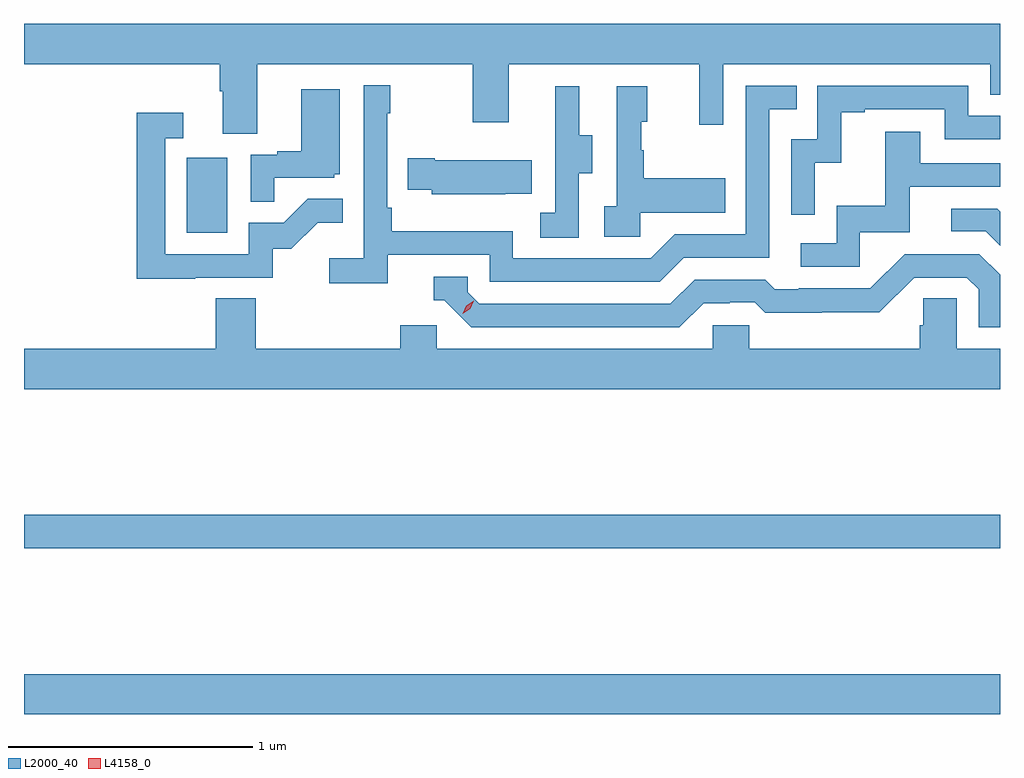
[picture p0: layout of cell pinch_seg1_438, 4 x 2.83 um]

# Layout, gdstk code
import gdstk
lib = gdstk.Library(unit=1e-6, precision=1e-09)
def R(c, l, rs):  # rectangles x0, y0, x1, y1
    for r in rs: c.add(gdstk.rectangle(r[:2], r[2:], *l))
def P(c, l, *ps):  # polygons
    for p in ps: c.add(gdstk.Polygon(p, *l))
L2000_40 = (2000, 40)
L4158_0 = (4158, 0)

pinch_seg1_438 = lib.new_cell('pinch_seg1_438')
R(pinch_seg1_438, L2000_40, [(986.718,518.432,990.718,518.596), (986.718,519.112,990.718,519.248), (987.386,520.404,987.55,520.711)])
P(pinch_seg1_438, L2000_40, [(987.673,521.096),(988.558,521.096),(988.558,520.857),(988.705,520.857),(988.705,521.096),(989.486,521.096),(989.486,520.847),(989.583,520.847),(989.583,521.096),(990.678,521.096),(990.678,520.969),(990.718,520.969),(990.718,521.26),(986.718,521.26),(986.718,521.096),(987.521,521.096),(987.521,520.984),(987.533,520.984),(987.533,520.81),(987.673,520.81)],
  [(988.208,520.314),(988.626,520.314),(988.626,520.203),(989.323,520.203),(989.422,520.302),(989.772,520.302),(989.772,520.911),(989.885,520.911),(989.885,521.007),(989.676,521.007),(989.676,520.398),(989.385,520.398),(989.286,520.299),(988.722,520.299),(988.722,520.411),(988.226,520.411),(988.226,520.507),(988.206,520.507),(988.206,520.895),(988.219,520.895),(988.219,521.008),(988.11,521.008),(988.11,520.3),(987.969,520.3),(987.969,520.198),(988.208,520.198)],
  [(989.958,520.691),(990.068,520.691),(990.068,520.899),(990.163,520.899),(990.163,520.911),(990.492,520.911),(990.492,520.788),(990.718,520.788),(990.718,520.884),(990.588,520.884),(990.588,521.007),(989.97,521.007),(989.97,520.788),(989.862,520.788),(989.862,520.479),(989.958,520.479)],
  [(988.992,520.648),(989.047,520.648),(989.047,520.803),(988.993,520.803),(988.993,521.005),(988.895,521.005),(988.895,520.791),(988.896,520.791),(988.896,520.487),(988.833,520.487),(988.833,520.384),(988.992,520.384)],
  [(989.244,520.487),(989.591,520.487),(989.591,520.627),(989.257,520.627),(989.257,520.742),(989.247,520.742),(989.247,520.86),(989.272,520.86),(989.272,521.005),(989.148,521.005),(989.148,520.514),(989.097,520.514),(989.097,520.389),(989.244,520.389)],
  [(987.743,520.629),(987.99,520.629),(987.99,520.644),(988.012,520.644),(988.012,520.993),(987.854,520.993),(987.854,520.738),(987.755,520.738),(987.755,520.725),(987.648,520.725),(987.648,520.531),(987.743,520.531)],
  [(987.419,520.221),(987.738,520.221),(987.738,520.338),(987.814,520.338),(987.921,520.445),(988.025,520.445),(988.025,520.544),(987.881,520.544),(987.783,520.446),(987.639,520.446),(987.639,520.317),(987.297,520.317),(987.297,520.791),(987.37,520.791),(987.37,520.897),(987.181,520.897),(987.181,520.216),(987.419,520.216)],
  [(990.144,520.407),(990.349,520.407),(990.349,520.593),(990.718,520.593),(990.718,520.689),(990.391,520.689),(990.391,520.819),(990.247,520.819),(990.247,520.516),(990.048,520.516),(990.048,520.362),(989.901,520.362),(989.901,520.266),(990.144,520.266)],
  [(988.691,520.565),(988.799,520.565),(988.799,520.702),(988.402,520.702),(988.402,520.71),(988.291,520.71),(988.291,520.58),(988.389,520.58),(988.389,520.562),(988.691,520.562)],
  [(990.718,520.491),(990.706,520.503),(990.519,520.503),(990.519,520.41),(990.66,520.41),(990.718,520.352)],
  [(989.503,520.116),(989.61,520.116),(989.61,520.119),(989.713,520.119),(989.755,520.077),(989.988,520.077),(989.988,520.079),(990.224,520.079),(990.366,520.221),(990.582,520.221),(990.63,520.173),(990.63,520.017),(990.718,520.017),(990.718,520.232),(990.633,520.317),(990.327,520.317),(990.186,520.176),(989.893,520.176),(989.893,520.173),(989.794,520.173),(989.755,520.212),(989.466,520.212),(989.367,520.113),(988.584,520.113),(988.536,520.161),(988.536,520.224),(988.397,520.224),(988.397,520.128),(988.44,520.128),(988.551,520.017),(989.404,520.017)],
  [(990.718,519.928),(990.54,519.928),(990.54,520.136),(990.403,520.136),(990.403,520.026),(990.389,520.026),(990.389,519.928),(989.691,519.928),(989.691,520.026),(989.541,520.026),(989.541,519.928),(988.41,519.928),(988.41,520.026),(988.259,520.026),(988.259,519.928),(987.668,519.928),(987.668,520.136),(987.503,520.136),(987.503,519.928),(986.718,519.928),(986.718,519.764),(990.718,519.764)])
P(pinch_seg1_438, L4158_0, [(988.516,520.072),(988.516,520.073),(988.531,520.105),(988.562,520.125),(988.562,520.125),(988.562,520.125),(988.546,520.092),(988.516,520.072)])

lib.write_gds('pinch_seg1_438.gds')
